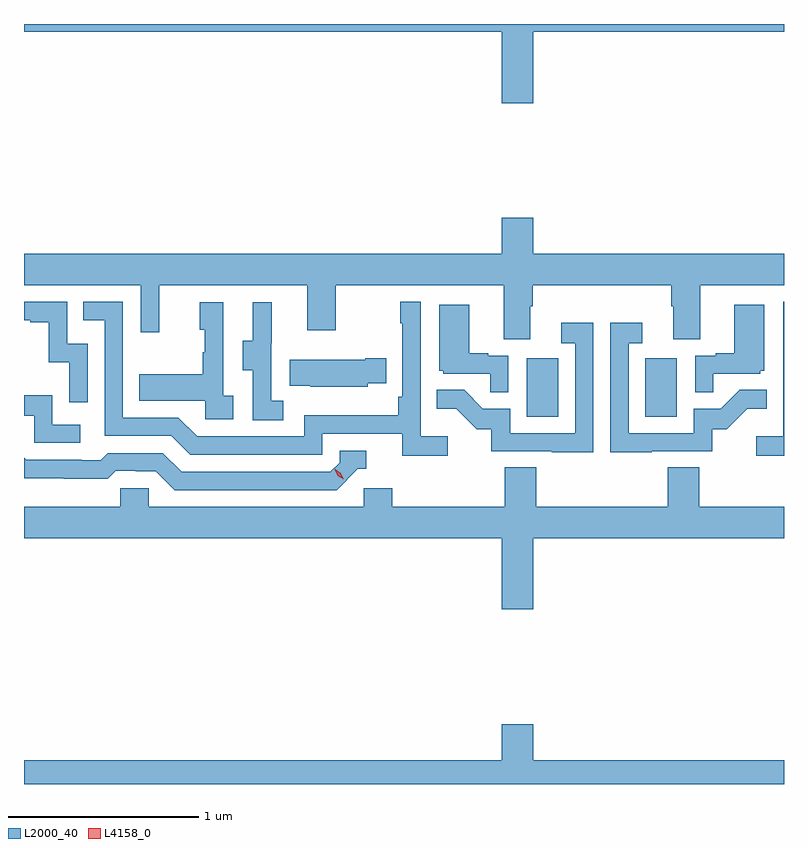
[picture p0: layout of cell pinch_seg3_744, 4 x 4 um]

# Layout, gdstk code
import gdstk
lib = gdstk.Library(unit=1e-6, precision=1e-09)
def R(c, l, rs):  # rectangles x0, y0, x1, y1
    for r in rs: c.add(gdstk.rectangle(r[:2], r[2:], *l))
def P(c, l, *ps):  # polygons
    for p in ps: c.add(gdstk.Polygon(p, *l))
L2000_40 = (2000, 40)
L4158_0 = (4158, 0)

pinch_seg3_744 = lib.new_cell('pinch_seg3_744')
R(pinch_seg3_744, L2000_40, [(848.456,733.524,848.62,733.831), (849.08,733.524,849.244,733.831)])
P(pinch_seg3_744, L2000_40, [(848.488,735.548),(849.809,735.548),(849.809,735.59),(845.809,735.59),(845.809,735.548),(848.324,735.548),(848.324,735.174),(848.488,735.174)],
  [(848.473,734.104),(848.486,734.104),(848.486,734.216),(849.215,734.216),(849.215,734.104),(849.227,734.104),(849.227,733.93),(849.367,733.93),(849.367,734.216),(849.809,734.216),(849.809,734.38),(848.488,734.38),(848.488,734.569),(848.324,734.569),(848.324,734.38),(845.809,734.38),(845.809,734.216),(846.423,734.216),(846.423,733.968),(846.521,733.968),(846.521,734.216),(847.301,734.216),(847.301,733.977),(847.449,733.977),(847.449,734.216),(848.333,734.216),(848.333,733.93),(848.473,733.93)],
  [(849.809,734.128),(849.804,734.128),(849.804,733.42),(849.663,733.42),(849.663,733.318),(849.809,733.318)],
  [(848.038,733.42),(847.896,733.42),(847.896,734.128),(847.788,734.128),(847.788,734.015),(847.8,734.015),(847.8,733.627),(847.78,733.627),(847.78,733.531),(847.284,733.531),(847.284,733.419),(846.72,733.419),(846.621,733.518),(846.33,733.518),(846.33,734.127),(846.121,734.127),(846.121,734.031),(846.234,734.031),(846.234,733.422),(846.584,733.422),(846.683,733.323),(847.38,733.323),(847.38,733.434),(847.799,733.434),(847.799,733.318),(848.038,733.318)],
  [(846.144,733.908),(846.036,733.908),(846.036,734.127),(845.809,734.127),(845.809,734.031),(845.843,734.031),(845.843,734.019),(845.939,734.019),(845.939,733.811),(846.048,733.811),(846.048,733.599),(846.144,733.599)],
  [(847.174,733.607),(847.11,733.607),(847.11,733.911),(847.112,733.911),(847.112,734.125),(847.013,734.125),(847.013,733.923),(846.959,733.923),(846.959,733.768),(847.014,733.768),(847.014,733.504),(847.174,733.504)],
  [(846.91,733.634),(846.858,733.634),(846.858,734.125),(846.734,734.125),(846.734,733.98),(846.76,733.98),(846.76,733.862),(846.75,733.862),(846.75,733.747),(846.415,733.747),(846.415,733.607),(846.762,733.607),(846.762,733.509),(846.91,733.509)],
  [(848.358,733.845),(848.252,733.845),(848.252,733.858),(848.152,733.858),(848.152,734.113),(847.994,734.113),(847.994,733.764),(848.016,733.764),(848.016,733.749),(848.263,733.749),(848.263,733.651),(848.358,733.651)],
  [(849.437,733.749),(849.684,733.749),(849.684,733.764),(849.706,733.764),(849.706,734.113),(849.548,734.113),(849.548,733.858),(849.449,733.858),(849.449,733.845),(849.342,733.845),(849.342,733.651),(849.437,733.651)],
  [(848.805,734.017),(848.637,734.017),(848.637,733.911),(848.709,733.911),(848.709,733.437),(848.367,733.437),(848.367,733.566),(848.223,733.566),(848.125,733.664),(847.981,733.664),(847.981,733.565),(848.085,733.565),(848.192,733.458),(848.269,733.458),(848.269,733.341),(848.587,733.341),(848.587,733.336),(848.805,733.336)],
  [(849.113,733.341),(849.432,733.341),(849.432,733.458),(849.508,733.458),(849.615,733.565),(849.719,733.565),(849.719,733.664),(849.575,733.664),(849.477,733.566),(849.333,733.566),(849.333,733.437),(848.991,733.437),(848.991,733.911),(849.064,733.911),(849.064,734.017),(848.895,734.017),(848.895,733.336),(849.113,733.336)],
  [(847.617,733.7),(847.715,733.7),(847.715,733.83),(847.604,733.83),(847.604,733.822),(847.207,733.822),(847.207,733.685),(847.315,733.685),(847.315,733.682),(847.617,733.682)],
  [(846.106,733.482),(845.958,733.482),(845.958,733.636),(845.809,733.636),(845.809,733.527),(845.862,733.527),(845.862,733.386),(846.106,733.386)],
  [(847.566,733.248),(847.609,733.248),(847.609,733.344),(847.47,733.344),(847.47,733.281),(847.422,733.233),(846.639,733.233),(846.54,733.332),(846.251,733.332),(846.212,733.293),(846.113,733.293),(846.113,733.296),(845.82,733.296),(845.809,733.307),(845.809,733.199),(846.018,733.199),(846.018,733.197),(846.251,733.197),(846.293,733.239),(846.396,733.239),(846.396,733.236),(846.503,733.236),(846.602,733.137),(847.455,733.137)],
  [(846.315,733.146),(846.315,733.048),(845.809,733.048),(845.809,732.884),(848.324,732.884),(848.324,732.51),(848.488,732.51),(848.488,732.884),(849.809,732.884),(849.809,733.048),(849.362,733.048),(849.362,733.256),(849.197,733.256),(849.197,733.048),(848.504,733.048),(848.504,733.256),(848.339,733.256),(848.339,733.048),(847.748,733.048),(847.748,733.146),(847.596,733.146),(847.596,733.048),(846.465,733.048),(846.465,733.146)],
  [(849.809,731.716),(848.488,731.716),(848.488,731.905),(848.324,731.905),(848.324,731.716),(845.809,731.716),(845.809,731.59),(849.809,731.59)])
P(pinch_seg3_744, L4158_0, [(847.491,733.193),(847.461,733.213),(847.445,733.246),(847.445,733.246),(847.446,733.246),(847.476,733.226),(847.491,733.194),(847.491,733.193)])

lib.write_gds('pinch_seg3_744.gds')
